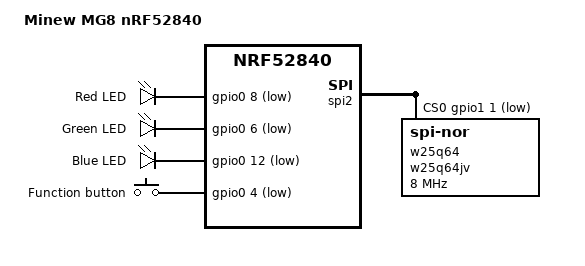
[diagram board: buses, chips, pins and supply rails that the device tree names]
/*
 * Minew MG8 LTE gateway: nRF52840 (aQFN73) with a Quectel EG916Q-GL modem on a daughterboard.
 * Pin map and how each pin was confirmed: README.md.
 *
 * The modem control pins are driven directly by the applications: 3.8 V enable P1.09, PWRKEY P0.15,
 * RESET P0.13, W_DISABLE# P0.31. Its UART (P0.14 TX / P0.21 RX) is described as uart1 but left
 * disabled: the bring-up firmware drives it through registers, the hub app enables it.
 */

/dts-v1/;
#include <nordic/nrf52840_qiaa.dtsi>
#include "mg8_nrf52840-pinctrl.dtsi"
#include <zephyr/dt-bindings/input/input-event-codes.h>

/ {
	model = "Minew MG8 nRF52840";
	compatible = "minew,mg8-nrf52840";

	chosen {
		zephyr,sram = &sram0;
		zephyr,flash = &flash0;
		zephyr,code-partition = &slot0_partition;
	};

	/* One RGB LED, common anode to VDD */
	leds {
		compatible = "gpio-leds";
		led_red: led_0 {
			gpios = <&gpio0 8 GPIO_ACTIVE_LOW>;
			label = "Red LED";
		};
		led_green: led_1 {
			gpios = <&gpio0 6 GPIO_ACTIVE_LOW>;
			label = "Green LED";
		};
		led_blue: led_2 {
			gpios = <&gpio0 12 GPIO_ACTIVE_LOW>;
			label = "Blue LED";
		};
	};

	buttons {
		compatible = "gpio-keys";
		button0: button_0 {
			gpios = <&gpio0 4 (GPIO_PULL_UP | GPIO_ACTIVE_LOW)>;
			label = "Function button";
			zephyr,code = <INPUT_KEY_0>;
		};
	};

	aliases {
		led0 = &led_red;
		led1 = &led_green;
		led2 = &led_blue;
		sw0 = &button0;
		spi-flash0 = &w25q64;
	};
};

/* P0.09 / P0.10 are not used for NFC */
&uicr {
	nfct-pins-as-gpios;
};

&gpiote {
	status = "okay";
};

&gpio0 {
	status = "okay";
};

&gpio1 {
	status = "okay";
};

/* Quectel EG916Q-GL main UART, 115200 8N1, no flow control */
&uart1 {
	compatible = "nordic,nrf-uarte";
	current-speed = <115200>;
	pinctrl-0 = <&uart1_default>;
	pinctrl-1 = <&uart1_sleep>;
	pinctrl-names = "default", "sleep";
	status = "disabled";
};

&spi2 {
	compatible = "nordic,nrf-spim";
	status = "okay";
	pinctrl-0 = <&spi2_default>;
	pinctrl-1 = <&spi2_sleep>;
	pinctrl-names = "default", "sleep";
	cs-gpios = <&gpio1 1 GPIO_ACTIVE_LOW>;

	/* Size and layout are read from the chip's SFDP tables (CONFIG_SPI_NOR_SFDP_RUNTIME) */
	w25q64: w25q64jv@0 {
		compatible = "jedec,spi-nor";
		reg = <0>;
		spi-max-frequency = <8000000>;
	};
};

&flash0 {
	partitions {
		compatible = "fixed-partitions";
		#address-cells = <1>;
		#size-cells = <1>;

		boot_partition: partition@0 {
			label = "mcuboot";
			reg = <0x00000000 0x0000C000>;
		};
		slot0_partition: partition@c000 {
			label = "image-0";
			reg = <0x0000C000 0x00076000>;
		};
		slot1_partition: partition@82000 {
			label = "image-1";
			reg = <0x00082000 0x00076000>;
		};
		storage_partition: partition@f8000 {
			label = "storage";
			reg = <0x000f8000 0x00008000>;
		};
	};
};
